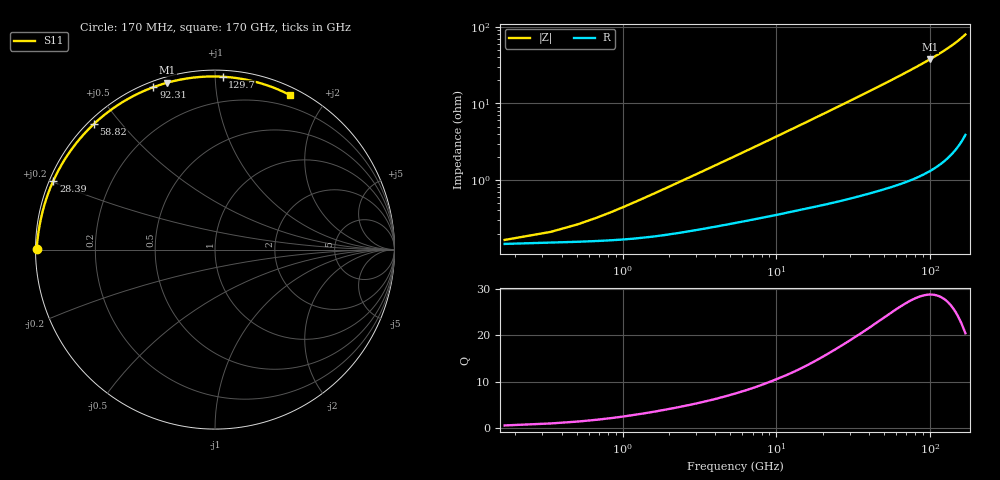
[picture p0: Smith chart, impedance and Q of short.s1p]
! Touchstone file exported from HFSS 2024.2.0
!  File:  C:/Users/nathan/Desktop/Ansys_HFSS/OnWaferCal-Standards-2p5umM9.aedt
!  Generated:  11:38:24 PM May 21, 2025
!  Design:  1_short
!  Project:  OnWaferCal-Standards-2p5umM9
!  Setup:  sim_dc170
!  Solution:  broad
! Variables:
!  IMD10A_h = 0.06um
!  IMD10B_h = 0.6um
!  IMD10C_h = 0.17um
!  IMD10D_h = 0.712um
!  IMD11A_h = 0.06um
!  IMD11B_h = 0.53um
!  IMD11C_h = 0.2um
!  IMD11D_h = 3.2um
!  IMD1A_h = 0.02um
!  IMD1B_h = 0.045um
!  IMD2t7A_h = 0.025um
!  IMD2t7B_h = 0.065um
!  IMD2t7C_h = 0.09um
!  Passivation1_h = 0.07um
!  Passivation2_h = 0.7um
!  Passivation3_h = 0.4um
!  Passivation4_h = 0.5um
!  landingpad_g_cut = 50um
!  landingpad_m8width_half = 0.2um
!  landingpad_m9transient_length = (55-1.71) um
!  landingpad_transient_length = 55um
!  landingpad_transition_width_half = 0.26um
!  landingpad_width_half = 1.25um
!  p1P9M1A1U_x = 0um
!  p1P9M1A1U_y = 0um
!  w1P9M1A1U_x = 255um
!  w1P9M1A1U_y = 335um
# GHz S MA R 50.000000
! Terminal data exported
! Port[1] = 1
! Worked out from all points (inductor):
!   1000 points, 170 MHz to 170 GHz, reference 50 ohm
!   read as one part to ground: L = 63.3 pH near 1.36 GHz
!   highest Q = 28.9 at 99.79 GHz (marker M1), where L = 60.2 pH
!   S11 on the Smith chart (normalised r, x): 170 MHz: 0.00, +0.00; 28.39 GHz: 0.01, +0.20; 58.82 GHz: 0.02, +0.42; 92.31 GHz: 0.02, +0.69; 129.7 GHz: 0.04, +1.04; 170 GHz: 0.08, +1.59
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0.17  0.9942 179.8
! Gamma 0 0
! Port Impedance 50 0
0.85  0.9935 179.2
4.76  0.9896 175.9
10.88  0.9857 170.9
16.15  0.9832 166.6
21.42  0.9813 162.4
28.39  0.979 156.9
35.36  0.9769 151.5
42.67  0.9752 145.9
50.83  0.9735 139.8
58.82  0.9721 134.0
63.92  0.9713 130.3
69.19  0.9706 126.5
74.46  0.9699 122.8
79.73  0.9693 119.2
85.17  0.9687 115.5
92.31  0.968 110.8
99.79  0.9672 105.9
106.42  0.9666 101.7
111.69  0.9661 98.4
116.96  0.9655 95.2
127.67  0.9644 88.7
129.71  0.9641 87.5
139.23  0.9629 81.9
148.92  0.9615 76.3
158.95  0.9596 70.5
168.98  0.9573 64.7
170  0.957 64.1
